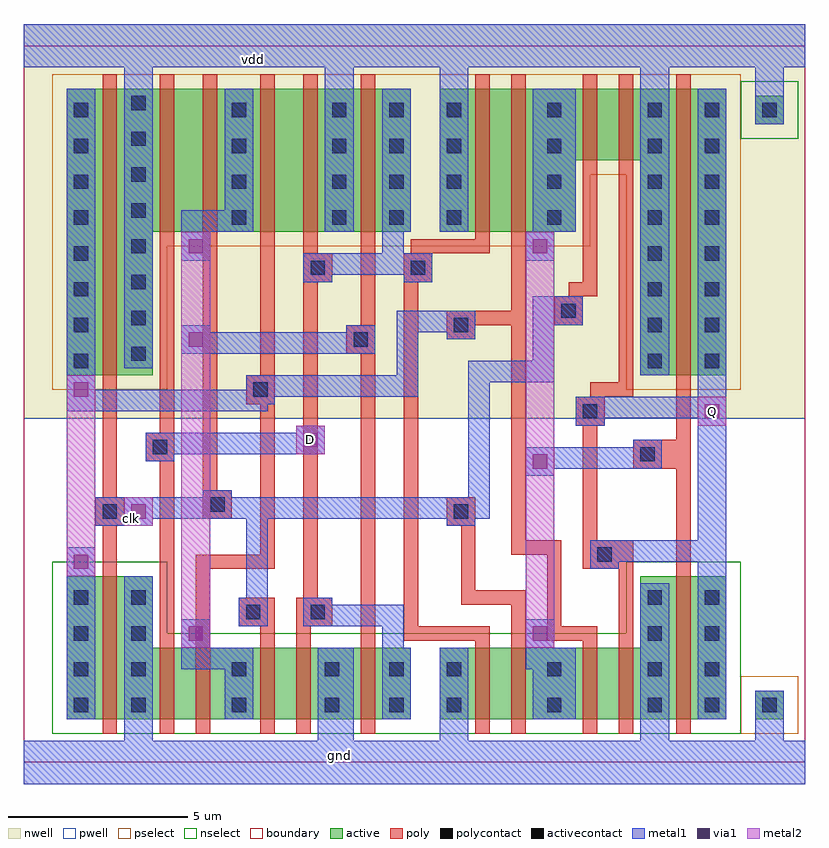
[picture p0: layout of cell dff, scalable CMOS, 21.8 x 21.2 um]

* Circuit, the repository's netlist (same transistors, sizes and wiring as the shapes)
*********************** "dff" ******************************
* Positive edge-triggered FF
.SUBCKT dff D Q clk vdd gnd

* SPICE3 file created from dff.ext - technology: scmos

M1000 vdd clk a_24_24# vdd p w=8u l=0.4u
M1001 a_84_296# D vdd vdd p w=4u l=0.4u
M1002 a_104_24# clk a_84_296# vdd p w=4u l=0.4u
M1003 a_140_296# a_24_24# a_104_24# vdd p w=4u l=0.4u
M1004 vdd a_152_16# a_140_296# vdd p w=4u l=0.4u
M1005 a_152_16# a_104_24# vdd vdd p w=4u l=0.4u
M1006 a_260_296# a_152_16# vdd vdd p w=4u l=0.4u
M1007 a_280_24# a_24_24# a_260_296# vdd p w=4u l=0.4u
M1008 a_320_336# clk a_280_24# vdd p w=2u l=0.4u
M1009 vdd Q a_320_336# vdd p w=2u l=0.4u
M1010 gnd clk a_24_24# gnd n w=4u l=0.4u
M1011 Q a_280_24# vdd vdd p w=8u l=0.4u
M1012 a_84_24# D gnd gnd n w=2u l=0.4u
M1013 a_104_24# a_24_24# a_84_24# gnd n w=2u l=0.4u
M1014 a_140_24# clk a_104_24# gnd n w=2u l=0.4u
M1015 gnd a_152_16# a_140_24# gnd n w=2u l=0.4u
M1016 a_152_16# a_104_24# gnd gnd n w=2u l=0.4u
M1017 a_260_24# a_152_16# gnd gnd n w=2u l=0.4u
M1018 a_280_24# clk a_260_24# gnd n w=2u l=0.4u
M1019 a_320_24# a_24_24# a_280_24# gnd n w=2u l=0.4u
M1020 gnd Q a_320_24# gnd n w=2u l=0.4u
M1021 Q a_280_24# gnd gnd n w=4u l=0.4u

.ENDS

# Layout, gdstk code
import gdstk
lib = gdstk.Library(unit=1e-6, precision=1e-09)
def R(c, l, rs):  # rectangles x0, y0, x1, y1
    for r in rs: c.add(gdstk.rectangle(r[:2], r[2:], *l))
def A(c, l, x, y, w, h, nx, ny, dx, dy):  # array of equal rectangles
    R(c, l, [(x+i*dx, y+j*dy, x+i*dx+w, y+j*dy+h) for i in range(nx) for j in range(ny)])
pwell = (41, 0)
nwell = (42, 0)
active = (43, 0)
pselect = (44, 0)
nselect = (45, 0)
poly = (46, 0)
polycontact = (47, 0)
activecontact = (48, 0)
metal1 = (49, 0)
via1 = (50, 0)
metal2 = (51, 0)
boundary = (63, 0)

dff = lib.new_cell('dff')
R(dff, pwell, [(0,-0.6,21.8,9.6)])
R(dff, nwell, [(0,9.6,21.8,20.6)])
R(dff, active, [(1.2,1.2,10.8,3.2), (11.6,1.2,19.6,3.2), (20.4,1.2,21.2,2), (1.2,3.2,3.6,5.2), (17.2,3.2,19.6,5.2), (1.2,10.8,3.6,14.8), (17.2,10.8,19.6,16.8), (1.2,14.8,10.8,18.8), (11.6,14.8,15.4,16.8), (11.6,16.8,19.6,18.8), (20.4,17.8,21.2,18.6)])
R(dff, pselect, [(20,0.8,21.6,2.4), (0.8,10.4,4,14.4), (16.8,10.4,20,16.4), (0.8,14.4,15.8,16.4), (0.8,16.4,20,19.2)])
R(dff, nselect, [(0.8,0.8,20,3.6), (0.8,3.6,4,5.6), (16.8,3.6,20,5.6), (20,17.4,21.6,19)])
R(dff, poly, [(2.2,0.8,2.6,6.6), (3.8,0.8,4.2,8.4), (4.8,0.8,5.2,5.4), (6.6,0.8,7,3.8), (7.6,0.8,8,3.8), (9.4,0.8,9.8,11.4), (12.6,0.8,13,3.4), (13.6,0.8,14,4.4), (15.6,0.8,16,3.4), (16.6,0.8,17,5.4), (18.2,0.8,18.6,8.2), (10.6,3.4,13,3.8), (14.6,3.4,16,3.8), (6,3.8,7,4.6), (7.6,3.8,8.6,4.6), (10.6,3.8,11,13.4), (14.6,3.8,15,5.8), (12.2,4.4,14,4.8), (7.8,4.6,8.2,13.4), (12.2,4.8,12.6,6.6), (4.8,5.4,7,5.8), (15.6,5.4,17,6.2), (6.6,5.8,7,10), (13.6,5.8,15,6.2), (13.6,6.2,14,12.2), (15.6,6.2,16,9.4), (2,6.6,2.8,7.4), (11.8,6.6,12.6,7.4), (5,6.8,5.8,7.6), (2.2,7.4,2.6,19.2), (5,7.6,5.4,19.2), (17,8.2,18.6,9), (3.4,8.4,4.2,9.2), (18.2,9,18.6,19.2), (3.8,9.2,4.2,19.2), (15.4,9.4,16.2,10.2), (6.2,10,7,10.8), (15.8,10.2,17,10.6), (16.6,10.6,17,19.2), (6.6,10.8,7,19.2), (9,11.4,9.8,12.2), (11.8,11.8,12.6,12.2), (9.4,12.2,9.8,19.2), (11.8,12.2,14,12.6), (14.8,12.2,15.6,13), (13.6,12.6,14,19.2), (15.2,13,16,13.4), (7.8,13.4,8.6,14.2), (10.6,13.4,11.4,14.2), (15.6,13.4,16,19.2), (7.8,14.2,8.2,19.2), (10.8,14.2,13,14.6), (12.6,14.6,13,19.2)])
R(dff, polycontact, [(6.2,4,6.6,4.4), (8,4,8.4,4.4), (16,5.6,16.4,6), (2.2,6.8,2.6,7.2), (12,6.8,12.4,7.2), (5.2,7,5.6,7.4), (17.2,8.4,17.6,8.8), (3.6,8.6,4,9), (15.6,9.6,16,10), (6.4,10.2,6.8,10.6), (9.2,11.6,9.6,12), (12,12,12.4,12.4), (15,12.4,15.4,12.8), (8,13.6,8.4,14), (10.8,13.6,11.2,14)])
A(dff, activecontact, 1.4, 1.4, 0.4, 0.4, 1, 4, 0, 1)
A(dff, activecontact, 3, 1.4, 0.4, 0.4, 1, 4, 0, 1)
A(dff, activecontact, 11.8, 1.4, 0.4, 0.4, 3, 2, 2.8, 1)
A(dff, activecontact, 19, 1.4, 0.4, 0.4, 1, 4, 0, 1)
A(dff, activecontact, 1.4, 11, 0.4, 0.4, 1, 8, 0, 1)
A(dff, activecontact, 17.4, 11, 0.4, 0.4, 1, 7, 0, 1)
A(dff, activecontact, 19, 11, 0.4, 0.4, 1, 7, 0, 1)
A(dff, activecontact, 3, 11.2, 0.4, 0.4, 1, 8, 0, 1)
A(dff, activecontact, 5.8, 15, 0.4, 0.4, 1, 4, 0, 1)
A(dff, activecontact, 8.6, 15, 0.4, 0.4, 3, 4, 1.6, 1)
A(dff, activecontact, 14.6, 15, 0.4, 0.4, 1, 4, 0, 1)
A(dff, activecontact, 17.4, 18, 0.4, 0.4, 3, 1, 1.6, 0)
R(dff, activecontact, [(5.8,1.4,6.2,1.8), (8.4,1.4,8.8,1.8), (10.2,1.4,10.6,1.8), (20.6,1.4,21,1.8), (5.8,2.4,6.2,2.8), (8.4,2.4,8.8,2.8), (10.2,2.4,10.6,2.8), (17.4,3.4,17.8,3.8), (17.4,4.4,17.8,4.8)])
R(dff, metal1, [(0,-0.6,21.8,0.6), (2.8,0.6,3.6,5.2), (8.2,0.6,9.2,3.2), (11.6,0.6,12.4,3.2), (17.2,0.6,18,5), (20.4,0.6,21.2,2), (1.2,1.2,2,6), (5.6,1.2,6.4,2.6), (10,1.2,10.8,3.2), (14.2,1.2,15.4,2.6), (18.8,1.2,19.6,5.6), (4.4,2.6,6.4,3.2), (14,2.6,15.4,3.2), (4.4,3.2,5.2,4), (10,3.2,10.6,3.8), (14,3.2,14.8,4), (6,3.8,6.8,4.6), (7.8,3.8,10.6,4.4), (7.8,4.4,8.6,4.6), (6.2,4.6,6.8,6.8), (15.8,5.4,16.6,5.6), (15.8,5.6,19.6,6.2), (18.8,6.2,19.6,9.6), (2,6.6,3.6,6.8), (11.8,6.6,12.6,6.8), (2,6.8,13,7.4), (5,7.4,5.8,7.6), (12.4,7.4,13,10.6), (14,8,14.8,8.2), (14,8.2,17.8,8.8), (3.4,8.4,4.2,8.6), (3.4,8.6,8.4,9.2), (17,8.8,17.8,9), (7.6,9.2,8.4,9.4), (15.4,9.4,16.2,9.6), (15.4,9.6,19.6,10.2), (1.2,9.8,6.8,10), (1.2,10,7,10.2), (1.2,10.2,11,10.4), (18.8,10.2,19.6,18.8), (1.2,10.4,2,18.8), (6.2,10.4,11,10.8), (12.4,10.6,14.8,11.2), (10.4,10.8,11,12), (17.2,10.8,18,19.4), (2.8,11,3.6,19.4), (14.2,11.2,14.8,12.2), (4.4,11.4,9.8,12), (11.8,11.8,12.6,12), (4.4,12,5.2,12.2), (9,12,9.8,12.2), (10.4,12,12.6,12.6), (14.2,12.2,15.6,13), (7.8,13.4,8.6,13.6), (10.6,13.4,11.4,13.6), (7.8,13.6,11.4,14.2), (4.4,14,5.2,14.8), (14,14,14.8,14.8), (10,14.2,10.6,14.8), (4.4,14.8,6.4,15.4), (8.4,14.8,9.2,19.4), (10,14.8,10.8,18.8), (11.6,14.8,12.4,19.4), (14.2,14.8,15.4,18.8), (5.6,15.4,6.4,18.8), (20.4,17.8,21.2,19.4), (0,19.4,21.8,20.6)])
R(dff, via1, [(4.6,3.4,5,3.8), (14.2,3.4,14.6,3.8), (1.4,5.4,1.8,5.8), (3,6.8,3.4,7.2), (14.2,8.2,14.6,8.6), (7.8,8.8,8.2,9.2), (19,9.6,19.4,10), (1.4,10.2,1.8,10.6), (4.6,11.6,5,12), (4.6,14.2,5,14.6), (14.2,14.2,14.6,14.6)])
R(dff, metal2, [(4.4,3.2,5.2,14.8), (14,3.2,14.8,14.8), (1.2,5.2,2,10.8), (2.8,6.6,3.6,7.4), (7.6,8.6,8.4,9.4), (18.8,9.4,19.6,10.2)])
R(dff, boundary, [(0,0,21.8,20)])
dff.add(gdstk.Label('clk', (3,6.8), layer=51, texttype=0))
dff.add(gdstk.Label('D', (8,9), layer=51, texttype=0))
dff.add(gdstk.Label('Q', (19.2,9.8), layer=51, texttype=0))
dff.add(gdstk.Label('vdd', (6.4,19.6), layer=49, texttype=0))
dff.add(gdstk.Label('gnd', (8.8,0.2), layer=49, texttype=0))

lib.write_gds('dff.gds')
